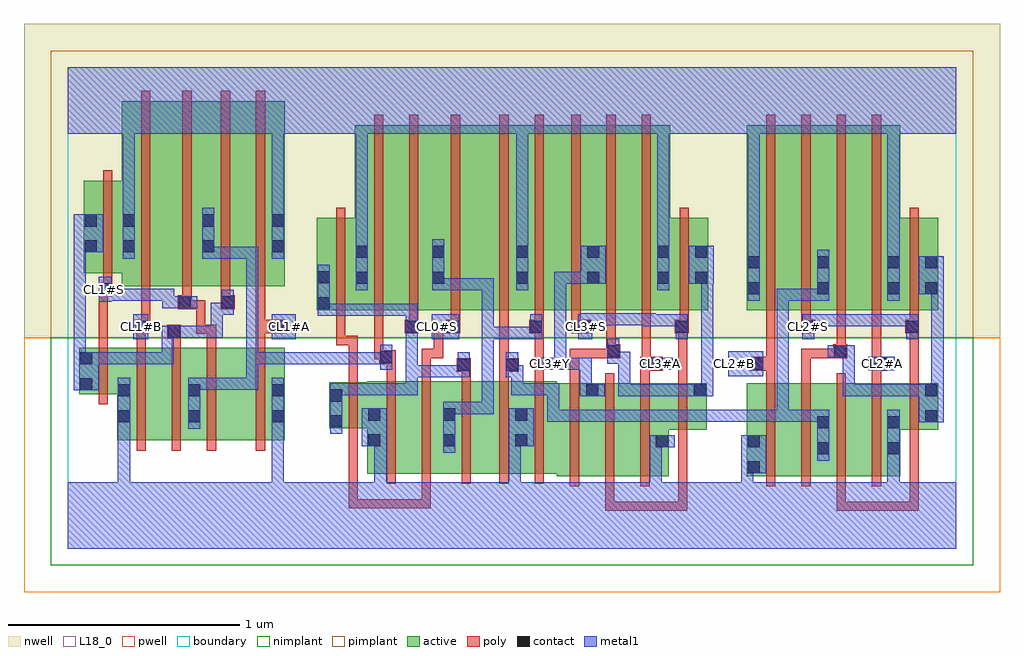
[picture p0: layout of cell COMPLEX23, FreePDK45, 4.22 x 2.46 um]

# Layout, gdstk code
import gdstk
lib = gdstk.Library(unit=1e-6, precision=1e-09)
def R(c, l, rs):  # rectangles x0, y0, x1, y1
    for r in rs: c.add(gdstk.rectangle(r[:2], r[2:], *l))
def A(c, l, x, y, w, h, nx, ny, dx, dy):  # array of equal rectangles
    R(c, l, [(x+i*dx, y+j*dy, x+i*dx+w, y+j*dy+h) for i in range(nx) for j in range(ny)])
active = (1, 0)
pwell = (2, 0)
nwell = (3, 0)
nimplant = (4, 0)
pimplant = (5, 0)
poly = (9, 0)
contact = (10, 0)
metal1 = (11, 0)
L18_0 = (18, 0)
boundary = (235, 0)

complex23 = lib.new_cell('COMPLEX23')
R(complex23, active, [(2.114,0.314,2.296,0.714), (2.236,0.314,2.418,0.714), (2.418,0.314,2.598,0.714), (2.934,0.314,3.114,0.714), (2.934,0.314,2.994,0.66), (3.114,0.314,3.294,0.714), (3.234,0.314,3.418,0.714), (3.418,0.314,3.598,0.714), (3.538,0.314,3.598,0.576), (1.294,0.324,1.474,0.724), (1.294,0.324,1.354,0.61), (1.474,0.324,1.678,0.724), (1.618,0.324,1.798,0.724), (1.798,0.324,1.99,0.724), (1.93,0.324,2.114,0.724), (1.93,0.324,1.99,0.61), (1.618,0.356,1.678,0.61), (3.234,0.356,3.294,0.576), (2.538,0.434,2.598,0.714), (0.214,0.468,0.394,0.868), (0.214,0.468,0.274,0.868), (0.394,0.468,0.578,0.868), (0.518,0.468,0.698,0.868), (0.518,0.468,0.578,0.868), (0.698,0.468,0.938,0.868), (0.878,0.468,0.938,0.868), (2.236,0.468,2.296,0.714), (2.538,0.514,2.762,0.714), (3.538,0.514,3.762,0.714), (3.702,0.514,3.762,0.714), (1.13,0.52,1.19,0.72), (1.13,0.52,1.354,0.72), (2.702,0.654,2.762,0.714), (0.05,0.668,0.11,0.868), (0.05,0.668,0.274,0.868), (1.076,1.03,1.3,1.43), (1.076,1.03,1.136,1.356), (1.24,1.03,1.3,1.356), (1.24,1.03,1.42,1.83), (1.42,1.03,1.632,1.83), (1.572,1.03,1.752,1.83), (1.752,1.03,1.994,1.83), (1.934,1.03,2.114,1.83), (1.934,1.03,1.994,1.756), (2.114,1.03,2.3,1.83), (2.24,1.03,2.424,1.83), (2.424,1.03,2.604,1.83), (2.544,1.03,2.768,1.43), (2.544,1.03,2.604,1.356), (2.708,1.03,2.768,1.43), (2.934,1.03,3.114,1.83), (2.934,1.03,2.994,1.756), (3.114,1.03,3.294,1.83), (3.234,1.03,3.418,1.83), (3.234,1.03,3.294,1.724), (3.418,1.03,3.598,1.83), (3.538,1.03,3.762,1.43), (3.538,1.03,3.598,1.356), (3.702,1.03,3.762,1.43), (0.234,1.134,0.414,1.934), (0.414,1.134,0.638,1.934), (0.578,1.134,0.758,1.934), (0.758,1.134,0.938,1.934), (0.878,1.134,0.938,1.756), (1.572,1.14,1.632,1.724), (2.24,1.14,2.3,1.724), (0.07,1.19,0.294,1.59), (0.07,1.19,0.13,1.448), (0.234,1.19,0.294,1.448), (0.578,1.206,0.638,1.724)])
R(complex23, pwell, [(-0.188,-0.188,4.028,0.912)])
R(complex23, nwell, [(-0.188,0.912,4.028,2.268)])
R(complex23, nimplant, [(-0.072,-0.072,3.912,0.912)])
R(complex23, pimplant, [(-0.072,0.912,3.912,2.152)])
A(complex23, poly, 2.17, 0.27, 0.04, 0.488, 3, 1, 0.152, 0)
A(complex23, poly, 3.018, 0.27, 0.04, 0.488, 4, 1, 0.152, 0)
A(complex23, poly, 0.298, 0.424, 0.04, 0.488, 3, 1, 0.152, 0)
A(complex23, poly, 2.176, 0.986, 0.04, 0.888, 3, 1, 0.152, 0)
A(complex23, poly, 3.018, 0.986, 0.04, 0.888, 4, 1, 0.152, 0)
R(complex23, poly, [(2.322,0.164,2.362,0.204), (2.322,0.164,2.362,0.31), (2.322,0.164,2.558,0.204), (2.518,0.164,2.558,0.204), (2.518,0.164,2.558,0.204), (2.518,0.164,2.558,0.204), (2.518,0.164,2.678,0.204), (2.638,0.164,2.678,0.204), (2.638,0.164,2.678,0.204), (2.638,0.164,2.678,0.204), (2.638,0.164,2.678,0.204), (2.638,0.164,2.678,0.204), (2.638,0.164,2.678,0.204), (2.638,0.164,2.678,0.204), (2.638,0.164,2.678,0.51), (3.322,0.164,3.362,0.204), (3.322,0.164,3.362,0.204), (3.322,0.164,3.362,0.204), (3.322,0.164,3.552,0.204), (3.322,0.164,3.362,0.31), (3.512,0.164,3.552,0.204), (3.512,0.164,3.552,0.204), (3.512,0.164,3.552,0.204), (3.512,0.164,3.678,0.204), (3.638,0.164,3.678,0.204), (3.638,0.164,3.678,0.204), (3.638,0.164,3.678,0.204), (3.638,0.164,3.678,0.204), (3.638,0.164,3.678,0.204), (3.638,0.164,3.678,0.51), (1.214,0.174,1.254,0.214), (1.214,0.174,1.254,0.214), (1.214,0.174,1.254,0.214), (1.214,0.174,1.254,0.214), (1.214,0.174,1.254,0.214), (1.214,0.174,1.254,0.214), (1.214,0.174,1.254,0.214), (1.214,0.174,1.39,0.214), (1.214,0.174,1.254,0.516), (1.35,0.174,1.39,0.214), (1.35,0.174,1.39,0.214), (1.35,0.174,1.39,0.214), (1.35,0.174,1.57,0.214), (1.53,0.174,1.57,0.214), (1.53,0.174,1.57,0.32), (1.378,0.28,1.418,0.768), (1.53,0.28,1.57,0.768), (1.702,0.28,1.742,0.768), (1.866,0.28,1.906,0.768), (2.018,0.28,2.058,0.768), (0.814,0.424,0.854,0.912), (2.638,0.47,2.678,0.758), (3.638,0.47,3.678,0.758), (1.214,0.476,1.254,0.764), (0.134,0.624,0.174,0.912), (2.17,0.718,2.21,0.864), (2.474,0.718,2.514,0.81), (2.638,0.718,2.678,0.97), (3.018,0.718,3.058,0.81), (3.17,0.718,3.21,0.864), (3.474,0.718,3.514,0.81), (3.638,0.718,3.678,0.97), (1.214,0.724,1.254,0.92), (1.378,0.728,1.418,0.838), (1.53,0.728,1.57,0.864), (1.702,0.728,1.742,0.804), (1.866,0.728,1.906,0.804), (2.018,0.728,2.058,0.97), (1.682,0.764,1.742,0.824), (1.866,0.764,1.95,0.824), (2.474,0.77,2.572,0.83), (2.95,0.77,3.058,0.83), (3.018,0.77,3.058,0.81), (3.018,0.77,3.058,0.81), (3.474,0.77,3.542,0.83), (1.866,0.784,1.906,0.824), (1.866,0.784,1.906,0.824), (1.866,0.784,1.906,1.026), (2.48,0.79,2.52,0.83), (2.48,0.79,2.52,0.83), (2.48,0.79,2.52,1.026), (3.018,0.79,3.058,1.026), (3.474,0.79,3.514,0.83), (3.474,0.79,3.514,0.83), (3.474,0.79,3.514,1.026), (1.346,0.798,1.418,0.858), (1.324,0.818,1.364,1.026), (1.324,0.818,1.386,0.858), (1.346,0.818,1.386,0.858), (1.53,0.824,1.57,0.864), (1.53,0.824,1.622,0.864), (1.582,0.824,1.622,0.864), (1.582,0.824,1.622,0.97), (2.17,0.824,2.21,0.864), (2.17,0.824,2.368,0.864), (2.328,0.824,2.368,0.864), (2.328,0.824,2.368,0.864), (2.328,0.824,2.388,0.884), (3.17,0.824,3.21,0.864), (3.17,0.824,3.21,0.864), (3.17,0.824,3.21,0.864), (3.17,0.824,3.348,0.864), (3.308,0.824,3.368,0.884), (2.328,0.844,2.368,0.884), (2.328,0.844,2.368,0.884), (2.328,0.844,2.368,1.026), (3.322,0.844,3.362,0.884), (3.322,0.844,3.362,0.884), (3.322,0.844,3.362,1.026), (0.134,0.872,0.174,1.13), (0.298,0.872,0.338,0.97), (0.45,0.872,0.49,0.948), (0.602,0.872,0.642,0.968), (0.814,0.872,0.854,0.97), (1.16,0.88,1.2,0.92), (1.16,0.88,1.2,0.92), (1.16,0.88,1.2,1.026), (1.16,0.88,1.254,0.92), (0.43,0.908,0.49,0.968), (0.556,0.928,0.596,0.968), (0.556,0.928,0.596,1.074), (0.556,0.928,0.642,0.968), (0.602,0.928,0.642,0.968), (0.292,0.93,0.352,0.99), (0.814,0.93,0.854,0.97), (0.814,0.93,0.854,0.97), (0.814,0.93,0.938,0.99), (1.456,0.93,1.516,0.99), (1.582,0.93,1.622,0.97), (1.582,0.93,1.676,0.97), (1.636,0.93,1.696,0.99), (1.994,0.93,2.058,0.99), (2.018,0.93,2.058,0.97), (2.018,0.93,2.058,0.97), (2.176,0.93,2.262,0.99), (2.624,0.93,2.684,0.99), (2.638,0.93,2.678,0.97), (2.638,0.93,2.678,0.97), (3.17,0.93,3.23,0.99), (3.618,0.93,3.678,0.99), (3.638,0.93,3.678,0.97), (3.638,0.93,3.678,0.97), (0.312,0.95,0.352,0.99), (0.312,0.95,0.358,0.99), (0.318,0.95,0.358,1.13), (0.814,0.95,0.854,1.13), (1.476,0.95,1.516,1.026), (1.656,0.95,1.696,1.026), (2.018,0.95,2.058,1.026), (2.176,0.95,2.216,1.026), (2.644,0.95,2.684,1.026), (3.17,0.95,3.21,1.026), (3.638,0.95,3.678,1.026), (1.16,0.986,1.2,1.474), (1.324,0.986,1.364,1.874), (1.476,0.986,1.516,1.874), (1.656,0.986,1.696,1.874), (1.866,0.986,1.906,1.874), (2.018,0.986,2.058,1.874), (2.644,0.986,2.684,1.474), (3.638,0.986,3.678,1.474), (0.476,1.034,0.536,1.094), (0.496,1.034,0.596,1.074), (0.556,1.034,0.596,1.074), (0.662,1.034,0.722,1.094), (0.496,1.054,0.536,1.13), (0.662,1.054,0.702,1.13), (0.134,1.09,0.174,1.13), (0.134,1.09,0.174,1.13), (0.134,1.09,0.194,1.15), (0.318,1.09,0.358,1.978), (0.496,1.09,0.536,1.978), (0.662,1.09,0.702,1.978), (0.814,1.09,0.854,1.978), (0.154,1.11,0.194,1.186), (0.154,1.146,0.194,1.634)])
R(complex23, contact, [(2.938,0.326,2.99,0.378), (3.238,0.408,3.29,0.46), (3.542,0.408,3.594,0.46), (2.542,0.438,2.594,0.49), (2.938,0.438,2.99,0.49), (1.298,0.442,1.35,0.494), (1.622,0.442,1.674,0.494), (1.934,0.442,1.986,0.494), (3.238,0.52,3.29,0.572), (3.542,0.52,3.594,0.572), (1.134,0.524,1.186,0.576), (0.218,0.546,0.27,0.598), (0.522,0.546,0.574,0.598), (0.882,0.546,0.934,0.598), (3.706,0.546,3.758,0.598), (1.298,0.554,1.35,0.606), (1.622,0.554,1.674,0.606), (1.934,0.554,1.986,0.606), (1.134,0.636,1.186,0.688), (0.218,0.658,0.27,0.71), (0.522,0.658,0.574,0.71), (0.882,0.658,0.934,0.71), (2.24,0.658,2.292,0.71), (2.706,0.658,2.758,0.71), (3.706,0.658,3.758,0.71), (0.054,0.684,0.106,0.736), (1.686,0.768,1.738,0.82), (1.894,0.768,1.946,0.82), (2.516,0.774,2.568,0.826), (2.954,0.774,3.006,0.826), (3.486,0.774,3.538,0.826), (0.054,0.796,0.106,0.848), (1.35,0.802,1.402,0.854), (2.332,0.828,2.384,0.88), (3.312,0.828,3.364,0.88), (0.434,0.912,0.486,0.964), (0.296,0.934,0.348,0.986), (0.882,0.934,0.934,0.986), (1.46,0.934,1.512,0.986), (1.64,0.934,1.692,0.986), (1.998,0.934,2.05,0.986), (2.206,0.934,2.258,0.986), (2.628,0.934,2.68,0.986), (3.174,0.934,3.226,0.986), (3.622,0.934,3.674,0.986), (1.08,1.034,1.132,1.086), (0.48,1.038,0.532,1.09), (0.666,1.038,0.718,1.09), (0.138,1.094,0.19,1.146), (2.938,1.1,2.99,1.152), (3.238,1.1,3.29,1.152), (3.542,1.1,3.594,1.152), (3.706,1.1,3.758,1.152), (1.244,1.144,1.296,1.196), (1.576,1.144,1.628,1.196), (1.938,1.144,1.99,1.196), (2.244,1.144,2.296,1.196), (2.548,1.144,2.6,1.196), (2.712,1.144,2.764,1.196), (1.08,1.146,1.132,1.198), (2.938,1.212,2.99,1.264), (3.238,1.212,3.29,1.264), (3.542,1.212,3.594,1.264), (3.706,1.212,3.758,1.264), (1.244,1.256,1.296,1.308), (1.576,1.256,1.628,1.308), (1.938,1.256,1.99,1.308), (2.244,1.256,2.296,1.308), (2.548,1.256,2.6,1.308), (2.712,1.256,2.764,1.308), (0.074,1.28,0.126,1.332), (0.238,1.28,0.29,1.332), (0.582,1.28,0.634,1.332), (0.882,1.28,0.934,1.332), (0.074,1.392,0.126,1.444), (0.238,1.392,0.29,1.444), (0.582,1.392,0.634,1.444), (0.882,1.392,0.934,1.444)])
R(complex23, metal1, [(0,0,3.84,0.288), (0.218,0.236,0.27,0.57), (0.882,0.236,0.934,0.288), (0.882,0.236,0.934,0.288), (0.882,0.236,0.934,0.57), (1.326,0.236,1.378,0.288), (1.326,0.236,1.378,0.288), (1.326,0.236,1.378,0.494), (1.906,0.236,1.958,0.288), (1.906,0.236,1.958,0.288), (1.906,0.236,1.958,0.494), (2.514,0.236,2.566,0.49), (2.91,0.236,2.962,0.378), (3.542,0.236,3.594,0.288), (3.542,0.236,3.594,0.288), (3.542,0.236,3.594,0.432), (2.91,0.326,3.018,0.49), (2.91,0.326,2.962,0.378), (2.91,0.326,2.962,0.378), (3.238,0.38,3.29,0.6), (3.542,0.38,3.594,0.6), (1.622,0.414,1.674,0.634), (2.514,0.438,2.566,0.49), (2.514,0.438,2.566,0.49), (2.514,0.438,2.622,0.49), (1.27,0.442,1.378,0.606), (1.906,0.442,2.014,0.606), (1.134,0.496,1.186,0.716), (0.218,0.518,0.27,0.57), (0.218,0.518,0.27,0.57), (0.218,0.518,0.27,0.738), (0.522,0.518,0.574,0.738), (0.882,0.518,0.934,0.738), (3.678,0.546,3.786,0.71), (2.072,0.548,2.124,0.6), (2.072,0.548,2.264,0.6), (2.072,0.548,2.124,0.716), (2.212,0.548,2.264,0.6), (2.212,0.548,2.264,0.6), (2.212,0.548,2.264,0.6), (2.212,0.548,2.43,0.6), (2.378,0.548,2.43,0.6), (2.378,0.548,2.43,0.6), (2.378,0.548,2.43,0.6), (2.378,0.548,2.57,0.6), (2.518,0.548,2.57,0.6), (2.518,0.548,2.57,0.6), (2.518,0.548,2.57,0.6), (2.518,0.548,2.796,0.6), (2.744,0.548,2.796,0.6), (2.744,0.548,2.796,0.6), (2.744,0.548,2.796,0.6), (2.744,0.548,2.906,0.6), (2.854,0.548,2.906,0.6), (2.854,0.548,2.906,0.6), (2.854,0.548,2.906,0.6), (2.854,0.548,2.906,0.6), (2.854,0.548,2.906,0.6), (2.854,0.548,3.116,0.6), (3.064,0.548,3.116,0.6), (3.064,0.548,3.116,0.6), (3.064,0.548,3.116,0.6), (3.064,0.548,3.116,0.6), (3.064,0.548,3.116,0.6), (3.064,0.548,3.116,0.6), (3.064,0.548,3.116,0.6), (3.064,0.548,3.29,0.6), (3.064,0.548,3.116,1.124), (1.622,0.582,1.674,0.634), (1.622,0.582,1.674,0.634), (1.622,0.582,1.842,0.634), (1.79,0.582,1.842,0.634), (1.79,0.582,1.842,0.634), (1.79,0.582,1.842,0.634), (1.79,0.582,1.842,0.958), (2.212,0.658,2.32,0.71), (2.212,0.658,2.264,0.826), (2.378,0.658,2.43,0.71), (2.378,0.658,2.54,0.71), (2.378,0.658,2.43,0.852), (2.488,0.658,2.54,0.71), (2.488,0.658,2.54,0.71), (2.488,0.658,2.54,0.71), (2.488,0.658,2.73,0.71), (2.678,0.658,2.73,0.71), (2.678,0.658,2.73,0.71), (2.678,0.658,2.786,0.71), (2.734,0.658,2.786,0.71), (2.734,0.658,2.79,0.71), (2.738,0.658,2.79,1.196), (3.348,0.658,3.4,0.71), (3.348,0.658,3.564,0.71), (3.348,0.658,3.4,0.88), (3.512,0.658,3.564,0.71), (3.512,0.658,3.564,0.71), (3.512,0.658,3.564,0.71), (3.512,0.658,3.73,0.71), (3.678,0.658,3.73,0.71), (3.678,0.658,3.73,0.71), (3.732,0.658,3.784,1.152), (3.732,0.658,3.784,0.71), (3.732,0.658,3.784,0.71), (3.732,0.658,3.784,0.71), (3.732,0.658,3.784,0.71), (1.134,0.664,1.212,0.716), (1.16,0.664,1.212,0.716), (1.16,0.664,1.322,0.716), (1.27,0.664,1.322,0.716), (1.27,0.664,1.322,0.716), (1.27,0.664,1.322,0.716), (1.27,0.664,1.512,0.716), (1.46,0.664,1.512,0.716), (1.46,0.664,1.512,0.792), (1.916,0.664,1.968,0.716), (1.916,0.664,2.124,0.716), (1.916,0.664,1.968,0.792), (2.072,0.664,2.124,0.716), (2.072,0.664,2.124,0.716), (2.072,0.664,2.124,0.716), (0.026,0.684,0.134,0.848), (0.522,0.686,0.824,0.738), (0.772,0.686,0.824,0.738), (0.772,0.686,0.824,0.738), (0.772,0.686,0.824,0.738), (0.772,0.686,0.824,0.848), (1.46,0.74,1.512,0.792), (1.46,0.74,1.512,0.792), (1.46,0.74,1.512,0.792), (1.46,0.74,1.622,0.792), (1.46,0.74,1.512,1.014), (1.57,0.74,1.622,0.792), (1.57,0.74,1.738,0.792), (1.686,0.74,1.738,0.848), (1.894,0.74,1.946,0.848), (1.894,0.74,1.968,0.792), (1.916,0.74,1.968,0.792), (2.854,0.746,3.006,0.854), (3.458,0.772,3.574,0.83), (1.35,0.774,1.402,0.882), (2.026,0.774,2.154,0.826), (2.102,0.774,2.154,0.826), (2.102,0.774,2.154,0.826), (2.102,0.774,2.264,0.826), (2.102,0.774,2.154,1.196), (2.212,0.774,2.264,0.826), (2.212,0.774,2.264,0.826), (2.212,0.774,2.264,0.826), (2.488,0.774,2.614,0.826), (0.026,0.796,0.078,0.848), (0.026,0.796,0.078,0.848), (0.026,0.796,0.078,1.332), (0.082,0.796,0.134,0.848), (0.082,0.796,0.134,0.848), (0.082,0.796,0.348,0.848), (0.296,0.796,0.348,0.848), (0.296,0.796,0.348,0.848), (0.296,0.796,0.348,0.848), (0.296,0.796,0.458,0.848), (0.406,0.796,0.458,0.848), (0.406,0.796,0.458,0.964), (0.772,0.796,0.824,0.848), (0.772,0.796,0.934,0.848), (0.772,0.796,0.824,1.304), (0.882,0.796,0.934,0.848), (0.882,0.796,0.934,0.848), (0.882,0.796,0.934,0.848), (0.882,0.796,1.044,0.848), (0.992,0.796,1.044,0.848), (0.992,0.796,1.044,0.848), (0.992,0.796,1.044,0.848), (0.992,0.796,1.402,0.848), (1.35,0.796,1.402,0.848), (1.35,0.796,1.402,0.848), (2.332,0.8,2.384,0.908), (2.332,0.8,2.43,0.852), (2.378,0.8,2.43,0.852), (3.284,0.828,3.392,0.88), (3.34,0.828,3.4,0.88), (3.348,0.828,3.4,0.88), (0.284,0.906,0.348,1.014), (0.882,0.906,0.986,1.014), (1.46,0.906,1.512,1.014), (1.574,0.906,1.692,1.014), (1.79,0.906,1.842,0.958), (1.79,0.906,1.848,0.958), (1.79,0.906,1.842,1.168), (1.796,0.906,1.848,0.958), (1.796,0.906,1.968,0.958), (1.916,0.906,1.968,0.958), (1.916,0.906,2.05,0.958), (1.998,0.906,2.05,1.014), (2.206,0.906,2.266,1.014), (2.628,0.906,2.68,1.014), (3.174,0.906,3.226,1.014), (3.622,0.906,3.674,1.014), (0.406,0.912,0.458,0.964), (0.406,0.912,0.458,0.964), (0.406,0.912,0.514,0.964), (0.462,0.912,0.67,0.964), (0.618,0.912,0.67,0.964), (0.618,0.912,0.67,1.062), (1.46,0.962,1.512,1.014), (1.46,0.962,1.512,1.014), (1.46,0.962,1.512,1.058), (2.214,0.962,2.266,1.014), (2.214,0.962,2.266,1.018), (2.488,0.962,2.54,1.014), (2.488,0.962,2.54,1.014), (2.488,0.962,2.68,1.014), (2.488,0.962,2.54,1.018), (3.174,0.962,3.226,1.014), (3.174,0.962,3.226,1.014), (3.174,0.962,3.4,1.014), (3.348,0.962,3.4,1.014), (3.348,0.962,3.4,1.014), (3.348,0.962,3.4,1.014), (3.348,0.962,3.51,1.014), (3.458,0.962,3.51,1.014), (3.458,0.962,3.51,1.014), (3.458,0.962,3.51,1.014), (3.458,0.962,3.674,1.014), (2.214,0.966,2.378,1.018), (2.326,0.966,2.378,1.018), (2.326,0.966,2.378,1.018), (2.326,0.966,2.378,1.018), (2.326,0.966,2.54,1.018), (1.08,1.006,1.132,1.058), (1.08,1.006,1.132,1.058), (1.08,1.006,1.132,1.226), (1.08,1.006,1.322,1.058), (1.27,1.006,1.322,1.058), (1.27,1.006,1.322,1.058), (1.27,1.006,1.322,1.058), (1.27,1.006,1.512,1.058), (1.46,1.006,1.512,1.058), (0.618,1.01,0.67,1.062), (0.618,1.01,0.718,1.062), (0.666,1.01,0.718,1.118), (0.41,1.038,0.504,1.09), (0.41,1.038,0.462,1.124), (0.452,1.038,0.56,1.09), (0.134,1.066,0.19,1.174), (0.138,1.072,0.3,1.124), (0.248,1.072,0.3,1.124), (0.248,1.072,0.3,1.124), (0.248,1.072,0.3,1.124), (0.248,1.072,0.462,1.124), (2.938,1.072,2.99,1.292), (3.064,1.072,3.116,1.124), (3.064,1.072,3.116,1.124), (3.064,1.072,3.116,1.124), (3.064,1.072,3.29,1.124), (3.238,1.072,3.29,1.292), (3.542,1.072,3.594,1.292), (3.678,1.1,3.786,1.264), (1.244,1.116,1.296,1.336), (1.576,1.116,1.628,1.168), (1.576,1.116,1.628,1.168), (1.576,1.116,1.628,1.336), (1.576,1.116,1.842,1.168), (1.79,1.116,1.842,1.168), (1.938,1.116,1.99,1.336), (2.548,1.116,2.6,1.336), (2.102,1.144,2.154,1.196), (2.102,1.144,2.268,1.196), (2.216,1.144,2.324,1.308), (2.216,1.144,2.268,1.196), (2.216,1.144,2.268,1.196), (2.684,1.144,2.792,1.308), (2.738,1.144,2.79,1.196), (2.738,1.144,2.79,1.196), (2.938,1.24,2.99,1.844), (3.542,1.24,3.594,1.844), (0.238,1.252,0.29,1.472), (0.582,1.252,0.634,1.472), (0.582,1.252,0.824,1.304), (0.772,1.252,0.824,1.304), (0.772,1.252,0.824,1.304), (0.772,1.252,0.824,1.304), (0.772,1.252,0.824,1.304), (0.772,1.252,0.824,1.304), (0.882,1.252,0.934,1.472), (0.026,1.28,0.078,1.332), (0.026,1.28,0.078,1.332), (0.026,1.28,0.154,1.444), (1.244,1.284,1.296,1.844), (1.938,1.284,1.99,1.844), (2.548,1.284,2.6,1.844), (0.238,1.42,0.29,1.844), (0.882,1.42,0.934,1.844), (0,1.792,3.84,2.08)])
A(complex23, L18_0, 0.294, 0.934, 0.052, 0.052, 4, 1, 0.64, 0)
R(complex23, L18_0, [(0,0,3.84,0.288), (0.218,0.236,0.27,0.57), (0.882,0.236,0.934,0.288), (0.882,0.236,0.934,0.288), (0.882,0.236,0.934,0.57), (1.326,0.236,1.378,0.288), (1.326,0.236,1.378,0.288), (1.326,0.236,1.378,0.494), (1.906,0.236,1.958,0.288), (1.906,0.236,1.958,0.288), (1.906,0.236,1.958,0.494), (2.514,0.236,2.566,0.49), (2.91,0.236,2.962,0.378), (3.542,0.236,3.594,0.288), (3.542,0.236,3.594,0.288), (3.542,0.236,3.594,0.432), (2.91,0.326,2.962,0.378), (2.91,0.326,2.962,0.378), (2.91,0.326,3.018,0.49), (3.542,0.38,3.594,0.6), (2.514,0.438,2.566,0.49), (2.514,0.438,2.566,0.49), (2.514,0.438,2.622,0.49), (1.27,0.442,1.378,0.606), (1.906,0.442,2.014,0.606), (0.218,0.518,0.27,0.57), (0.218,0.518,0.27,0.57), (0.218,0.518,0.27,0.738), (0.882,0.518,0.934,0.738), (2.212,0.658,2.32,0.71), (2.212,0.658,2.264,0.826), (2.854,0.746,3.006,0.854), (3.458,0.772,3.574,0.83), (2.026,0.774,2.154,0.826), (2.054,0.774,2.106,0.826), (2.102,0.774,2.154,0.826), (2.102,0.774,2.154,0.826), (2.102,0.774,2.264,0.826), (2.102,0.774,2.154,1.196), (2.212,0.774,2.264,0.826), (2.212,0.774,2.264,0.826), (2.212,0.774,2.264,0.826), (2.488,0.774,2.614,0.826), (2.534,0.774,2.586,0.826), (2.854,0.774,2.906,0.826), (3.494,0.774,3.546,0.826), (0.284,0.906,0.348,1.014), (0.882,0.906,0.986,1.014), (1.574,0.906,1.692,1.014), (2.206,0.906,2.266,1.014), (2.628,0.906,2.68,1.014), (3.174,0.906,3.226,1.014), (3.622,0.906,3.674,1.014), (3.174,0.934,3.226,0.986), (2.214,0.962,2.266,1.014), (2.214,0.962,2.266,1.018), (2.488,0.962,2.54,1.014), (2.488,0.962,2.54,1.014), (2.488,0.962,2.54,1.018), (2.488,0.962,2.68,1.014), (3.174,0.962,3.226,1.014), (3.174,0.962,3.226,1.014), (3.174,0.962,3.4,1.014), (3.348,0.962,3.4,1.014), (3.348,0.962,3.4,1.014), (3.348,0.962,3.4,1.014), (3.348,0.962,3.51,1.014), (3.458,0.962,3.51,1.014), (3.458,0.962,3.51,1.014), (3.458,0.962,3.51,1.014), (3.458,0.962,3.674,1.014), (2.214,0.966,2.378,1.018), (2.326,0.966,2.378,1.018), (2.326,0.966,2.378,1.018), (2.326,0.966,2.378,1.018), (2.326,0.966,2.54,1.018), (0.41,1.038,0.462,1.124), (0.41,1.038,0.504,1.09), (0.452,1.038,0.56,1.09), (0.134,1.066,0.19,1.174), (0.138,1.072,0.3,1.124), (0.248,1.072,0.3,1.124), (0.248,1.072,0.3,1.124), (0.248,1.072,0.3,1.124), (0.248,1.072,0.462,1.124), (2.938,1.072,2.99,1.292), (3.542,1.072,3.594,1.292), (0.134,1.094,0.186,1.146), (1.244,1.116,1.296,1.336), (1.938,1.116,1.99,1.336), (2.548,1.116,2.6,1.336), (2.102,1.144,2.154,1.196), (2.102,1.144,2.268,1.196), (2.216,1.144,2.268,1.196), (2.216,1.144,2.268,1.196), (2.216,1.144,2.324,1.308), (2.938,1.24,2.99,1.844), (3.542,1.24,3.594,1.844), (0.238,1.252,0.29,1.472), (0.882,1.252,0.934,1.472), (1.244,1.284,1.296,1.844), (1.938,1.284,1.99,1.844), (2.548,1.284,2.6,1.844), (0.238,1.42,0.29,1.844), (0.882,1.42,0.934,1.844), (0,1.792,3.84,2.08)])
R(complex23, boundary, [(0,0,3.84,2.08)])
complex23.add(gdstk.Label('CL0#S', (1.6,0.96), layer=11, texttype=0))
complex23.add(gdstk.Label('CL1#A', (0.96,0.96), layer=11, texttype=0))
complex23.add(gdstk.Label('CL1#B', (0.32,0.96), layer=11, texttype=0))
complex23.add(gdstk.Label('CL1#S', (0.16,1.12), layer=11, texttype=0))
complex23.add(gdstk.Label('CL2#A', (3.52,0.8), layer=11, texttype=0))
complex23.add(gdstk.Label('CL2#B', (2.88,0.8), layer=11, texttype=0))
complex23.add(gdstk.Label('CL2#S', (3.2,0.96), layer=11, texttype=0))
complex23.add(gdstk.Label('CL3#A', (2.56,0.8), layer=11, texttype=0))
complex23.add(gdstk.Label('CL3#S', (2.24,0.96), layer=11, texttype=0))
complex23.add(gdstk.Label('CL3#Y', (2.08,0.8), layer=11, texttype=0))

lib.write_gds('COMPLEX23.gds')
